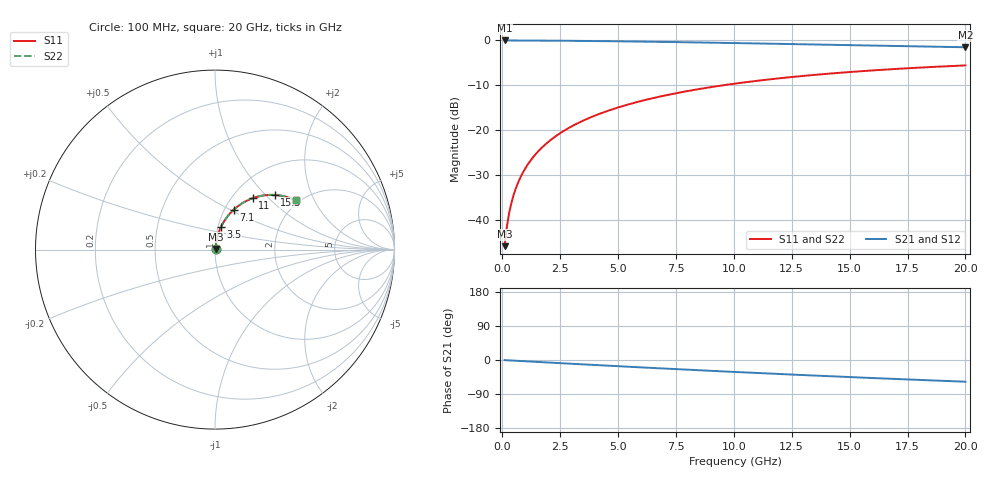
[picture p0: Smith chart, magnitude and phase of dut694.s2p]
! Touchstone file exported from HFSS 2026.1.0
!  File:  C:/ffzhzh/LocalFiles/Ansys_Project_Files/temp_train_BSMRDL_694_1783017743_51716.aedt
!  Generated:  02:44:04 AM Jul  3, 2026
!  Design:  BSMRDL
!  Project:  temp_train_BSMRDL_694_1783017743_51716
! Variables:
!  h_bsmrdl = 5.58um
!  h_ox = 20um
!  h_rdl = 5um
!  h_sub = 80um
!  h_tmrdl = 5um
!  h_tsv = 80um
!  h_via = 3um
!  l_bsmrdl = 874.64um
!  l_sub = 1274.64um
!  l_tmrdl = 200um
!  m_sub = 200um
!  pitch = 51.78um
!  r_tsv = 6um
!  s_tmrdl = 10um
!  w_bsmrdl = 17.46um
!  w_sub = 500um
!  w_tmrdl = 12um
!  x_tsv_center1 = 206um
!  x_tsv_center2 = 1098.1um
!  x_tsv_center3 = 1310.1um
!  x_tsv_center4 = 2202.2um
!  x_tsv_center5 = 2414.2um
!  x_tsv_center6 = 3306.3um
# GHz S MA R 50.000000
! Terminal data exported
! Port[1] = BSM_RDL1_1_T1
! Port[2] = BSM_RDL1_1_T2
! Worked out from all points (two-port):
!   200 points, 100 MHz to 20 GHz, reference 50 ohm
!   highest |S21| = -0.03 dB at 100 MHz (marker M1); lowest = -1.5 dB at 20 GHz (marker M2)
!   |S21| within 3 dB of the highest: start of sweep to end of sweep
!   lowest |S11| = -45.8 dB at 100 MHz (marker M3), VSWR 1.01, Z = 50.3 + j0.398 ohm
!   |S11| at or under -10 dB: start of sweep to 9.53 GHz
!   |S22| runs from -45.8 to -5.6 dB; largest |S21 - S12| = 2.9e-14
!   S11 on the Smith chart (normalised r, x): 100 MHz: 1.01, +0.01; 3.5 GHz: 1.03, +0.26; 7.1 GHz: 1.10, +0.52; 11 GHz: 1.24, +0.81; 15.3 GHz: 1.48, +1.13; 20 GHz: 1.91, +1.45
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0.1  0.005148 50.1  0.9967 -0.3  0.9967 -0.3  0.005148 50.1
! Gamma 0 0 0 0
! Port Impedance 50 0 50 0
0.2  0.00856 65.7  0.9965 -0.7  0.9965 -0.7  0.00856 65.7
0.3  0.01217 71.9  0.9964 -1.0  0.9964 -1.0  0.01217 71.9
0.4  0.01582 75.2  0.9962 -1.4  0.9962 -1.4  0.01582 75.2
0.5  0.01949 77.1  0.996 -1.7  0.996 -1.7  0.01949 77.1
0.7  0.02687 79.2  0.9957 -2.4  0.9957 -2.4  0.02687 79.2
1  0.03798 80.4  0.9952 -3.4  0.9952 -3.4  0.03798 80.4
1.4  0.05278 80.4  0.9942 -4.7  0.9942 -4.7  0.05278 80.5
2  0.0748 79.4  0.9922 -6.7  0.9922 -6.7  0.0748 79.5
2.7  0.1001 77.7  0.9892 -9.0  0.9892 -9.0  0.1001 77.7
3.5  0.1283 75.4  0.985 -11.6  0.985 -11.6  0.1283 75.4
4.2  0.1524 73.3  0.9809 -13.8  0.9809 -13.8  0.1524 73.4
5  0.1792 71.0  0.9755 -16.4  0.9755 -16.4  0.1792 71.0
6.8  0.2368 65.7  0.9618 -22.0  0.9618 -22.0  0.2368 65.7
7.1  0.246 64.8  0.9593 -22.9  0.9593 -22.9  0.246 64.8
8.5  0.2874 60.8  0.9471 -27.1  0.9471 -27.1  0.2874 60.8
10.1  0.3315 56.3  0.9321 -31.7  0.9321 -31.7  0.3315 56.3
11  0.3548 53.8  0.9233 -34.3  0.9233 -34.3  0.3548 53.9
13.4  0.4112 47.4  0.8993 -40.9  0.8993 -40.9  0.4112 47.5
15.3  0.4501 42.6  0.8804 -45.8  0.8804 -45.8  0.4501 42.6
16.7  0.4757 39.1  0.867 -49.4  0.867 -49.4  0.4757 39.2
20  0.5262 31.3  0.8376 -57.3  0.8376 -57.3  0.5262 31.5
